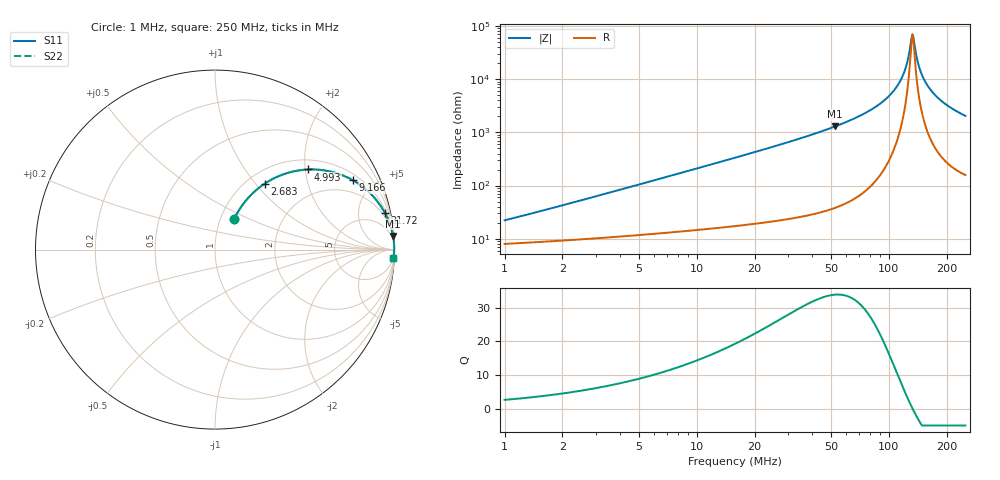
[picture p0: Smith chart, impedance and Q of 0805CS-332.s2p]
# MHz S MA R 50
!Freq  MagS11  AngS11  MagS21  AngS21  MagS12  AngS12  MagS22  AngS22
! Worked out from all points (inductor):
!   801 points, 1 MHz to 250 MHz, reference 50 ohm
!   read as one part in series: L = 3.3 uH near 1.205 MHz
!   highest Q = 33.8 at 52.54 MHz (marker M1), where L = 3.91 uH
!   self-resonance near 132.5 MHz
!   S11 on the Smith chart (normalised r, x): 1 MHz: 1.16, +0.41; 2.683 MHz: 1.20, +1.11; 4.993 MHz: 1.23, +2.07; 9.166 MHz: 1.28, +3.82; 21.72 MHz: 1.40, +9.25; 250 MHz: 4, -41
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1  0.2021 58.0  0.9093 -10.9  0.9093 -10.9  0.2021 58.0
2.521477  0.4376 53.9  0.8224 -25.5  0.8224 -25.5  0.4376 53.9
2.683069  0.4588 53.0  0.8117 -26.9  0.8117 -26.9  0.4588 53.0
4.993442  0.6846 40.7  0.6561 -42.9  0.6561 -42.9  0.6846 40.7
6.314115  0.7624 35.2  0.5784 -49.4  0.5784 -49.4  0.7624 35.2
9.165864  0.8607 26.6  0.4495 -59.1  0.4495 -59.1  0.8607 26.6
15.92089  0.945 16.3  0.2818 -70.7  0.2818 -70.7  0.945 16.3
21.71959  0.969 12.1  0.2092 -75.5  0.2092 -75.5  0.969 12.1
39.86805  0.9906 6.3  0.109 -81.9  0.109 -81.9  0.9906 6.3
52.54386  0.9948 4.4  0.07697 -83.9  0.07697 -83.9  0.9948 4.4
77.3353  0.9977 2.4  0.04109 -85.6  0.04109 -85.6  0.9977 2.4
99.83492  0.9985 1.2  0.02097 -85.3  0.02097 -85.3  0.9985 1.2
117.8205  0.9986 0.5  0.008758 -80.8  0.008758 -80.8  0.9986 0.5
122.8019  0.9986 0.3  0.0058 -76.1  0.0058 -76.1  0.9986 0.3
129.7731  0.9986 0.1  0.00216 -48.9  0.00216 -48.9  0.9986 0.1
132.4881  0.9986 0.0  0.001448 -5.1  0.001448 -5.1  0.9986 0.0
135.2599  0.9985 -0.1  0.002011 42.9  0.002011 42.9  0.9985 -0.1
140.9788  0.9985 -0.3  0.004637 70.4  0.004637 70.4  0.9985 -0.3
145.9287  0.9984 -0.4  0.007066 76.6  0.007066 76.6  0.9984 -0.4
161.8461  0.9981 -0.8  0.01458 82.0  0.01458 82.0  0.9981 -0.8
193.6579  0.9972 -1.6  0.02808 83.5  0.02808 83.5  0.9972 -1.6
250  0.995 -2.8  0.0489 82.8  0.0489 82.8  0.995 -2.8
